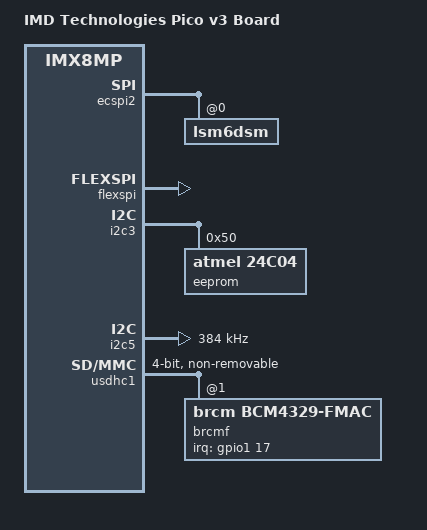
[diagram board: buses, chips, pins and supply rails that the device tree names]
// SPDX-License-Identifier: (GPL-2.0+ OR MIT)
/*
 * Copyright 2019 NXP
 * Copyright 2022 IMD Technologies
 */

#include "imx8mp-imdt-pico-e.dts"

/ {
	model = "IMD Technologies Pico v3 Board";
	compatible = "imdt,imx8mp-imdt-pico-v3", "fsl,imx8mp";

	/delete-node/ sound-hdmi;
	/delete-node/ sound-xcvr;
	/delete-node/ tlv320_xtal;
	/delete-node/ sound-tlv320;
};

&aud2htx {
	status = "disabled";
};

&ecspi2 {
	lsm6dsm@0 {
		st,drdy-int-pin = <2>;
	};
};

&fec {
	status = "disabled";
};

&flexspi {
	pinctrl-names = "default";
	pinctrl-0 = <&pinctrl_flexspi0>;
	status = "okay";
};


&flexcan1 {
	status = "disabled";
};

&i2c2 {
	/delete-node/ rtc@52;
};

&i2c3 {
	/delete-node/ secure-eeprom@64;
	eeprom@50 {
		compatible = "atmel,24c04";
		reg = <0x50>;
	};
};


&i2c5 {
	clock-frequency = <384000>;
	pinctrl-names = "default";
	pinctrl-0 = <&pinctrl_i2c5>;
	status = "okay";
};

&i2c6 {
	/delete-node/ gpio@20;
	/delete-node/ gpio@21;
	/delete-node/ codec@18;

};

&irqsteer_hdmi {
	status = "disabled";
};

&hdmi_blk_ctrl {
	status = "disabled";
};

&hdmi_pavi {
	status = "disabled";
};

&hdmi {
	status = "disabled";
};

&hdmiphy {
	status = "disabled";
};

&lcdif3 {
	status = "disabled";
};

&pcie{
	status = "disabled";
	/delete-node/ wifi_wake_host;
};

&pcie_phy{
	status = "disabled";
};

&sai2 {
	status = "disabled";
};

&sai3 {
	status = "disabled";
};

&xcvr {
	status = "disabled";
};

&sdma2 {
	status = "disabled";
};

&uart1 {
	pinctrl-0 = <&pinctrl_uart1>, <&pinctrl_bluetooth>;
};


&usdhc1 {
	/delete-property/ pinctrl-assert-gpios;
	pinctrl-names = "default", "state_100mhz", "state_200mhz";
	pinctrl-0 = <&pinctrl_usdhc1>;
	pinctrl-1 = <&pinctrl_usdhc1_100mhz>;
	pinctrl-2 = <&pinctrl_usdhc1_200mhz>;
	bus-width = <4>;
	pm-ignore-notify;
	keep-power-in-suspend;
	non-removable;
	/delete-property/ wakeup-source;
	/delete-property/ fsl,sdio-interrupt-enabled;
	cap-power-off-card;
	/delete-property/ vmmc-supply;

	brcmf: bcrmf@1 {
		reg = <0x1>;
		compatible = "brcm,bcm4329-fmac";

		pinctrl-names = "default";
		pinctrl-0 = <&pinctrl_wlan_irq>;

		interrupt-parent = <&gpio1>;
		interrupts = <17 IRQ_TYPE_LEVEL_HIGH>;
		interrupt-names = "host-wake";
	};
};

&iomuxc {
	/delete-node/ hoggrp;
	pinctrl_hog: hoggrp {
		fsl,pins = <
			MX8MP_IOMUXC_GPIO1_IO05__GPIO1_IO05		0x106
			MX8MP_IOMUXC_SAI2_TXFS__GPIO4_IO24		0x06
		>;
	};

	/delete-node/ i2c5grp;
	pinctrl_i2c5: i2c5grp {
		fsl,pins = <
			MX8MP_IOMUXC_HDMI_DDC_SCL__I2C5_SCL		0x400001c2
			MX8MP_IOMUXC_HDMI_DDC_SDA__I2C5_SDA		0x400001c2
		>;
	};
	/delete-node/ i2c6grp;
	pinctrl_i2c6: i2c6grp {
		fsl,pins = <
			MX8MP_IOMUXC_SAI5_RXFS__I2C6_SCL	0x400001c2
			MX8MP_IOMUXC_SAI5_RXC__I2C6_SDA		0x400001c2
		>;
	};

	/delete-node/ uart3grp;
	pinctrl_uart3: uart3grp {
		fsl,pins = <
			MX8MP_IOMUXC_SD1_DATA7__UART3_DCE_RX		0x140
			MX8MP_IOMUXC_SD1_DATA6__UART3_DCE_TX		0x140
		>;
	};
};
